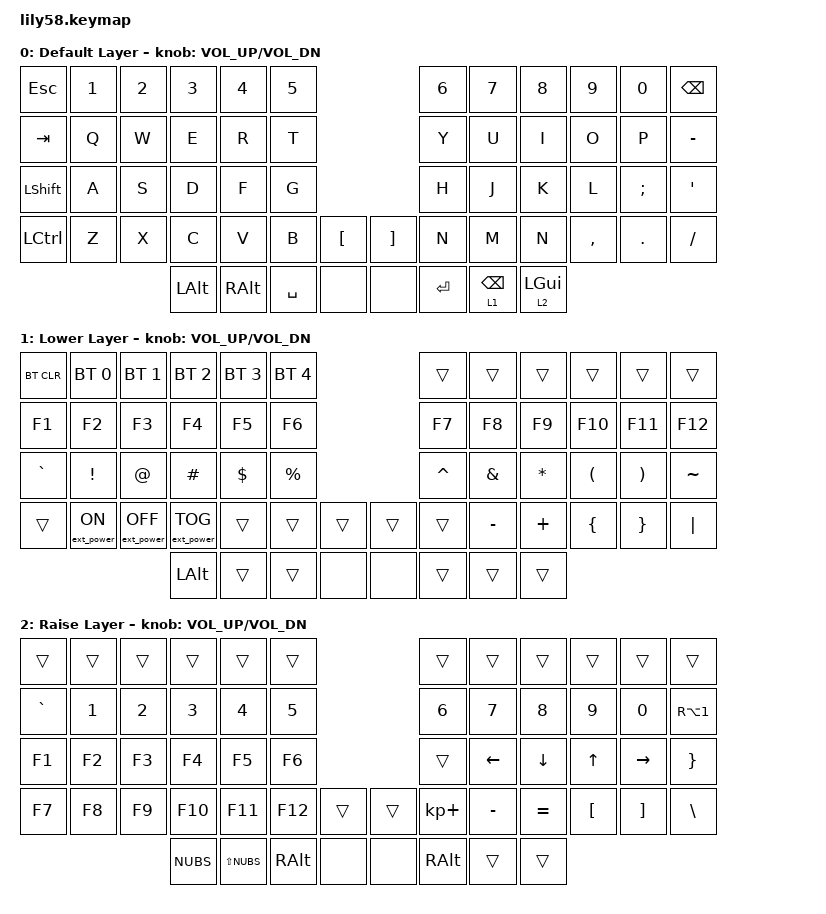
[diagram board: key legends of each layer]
/*
 * Copyright (c) 2020 The ZMK Contributors
 *
 * SPDX-License-Identifier: MIT
 *
 */

#include <behaviors.dtsi>
#include <dt-bindings/zmk/keys.h>
#include <dt-bindings/zmk/bt.h>
#include <dt-bindings/zmk/ext_power.h>

 / {
    keymap {
        compatible = "zmk,keymap";

        default_layer {
            display-name = "Default Layer";

            bindings = <
&kp ESC     &kp N1     &kp N2      &kp N3      &kp N4      &kp N5                            &kp N6    &kp N7    &kp N8     &kp N9     &kp N0      &kp BSPC
&kp TAB     &kp Q      &kp W       &kp E       &kp R       &kp T                             &kp Y     &kp U     &kp I      &kp O      &kp P       &kp MINUS
&kp LSHIFT  &kp A      &kp S       &kp D       &kp F       &kp G                             &kp H     &kp J     &kp K      &kp L      &kp SEMI    &kp SQT
&kp LCTRL   &kp Z      &kp X       &kp C       &kp V       &kp B        &kp LBKT  &kp RBKT   &kp N     &kp M     &kp N       &kp COMMA  &kp DOT    &kp FSLH
                                &kp LALT   &kp RALT   &kp SPACE     &none    &none     &kp RET     &lt 1 BSPC   &lt 2 LGUI
            >;

            sensor-bindings = <&inc_dec_kp C_VOL_UP C_VOL_DN>;
        };

        lower_layer {
            display-name = "Lower Layer";

            bindings = <
&bt BT_CLR       &bt BT_SEL 0       &bt BT_SEL 1     &bt BT_SEL 2     &bt BT_SEL 3    &bt BT_SEL 4                        &trans    &trans    &trans     &trans     &trans    &trans
&kp F1           &kp F2             &kp F3           &kp F4           &kp F5          &kp F6                               &kp F7    &kp F8    &kp F9      &kp F10    &kp F11   &kp F12
&kp GRAVE        &kp EXCL           &kp AT           &kp HASH         &kp DOLLAR      &kp PRCNT                            &kp CARET &kp AMPS  &kp ASTRK   &kp LPAR   &kp RPAR  &kp TILDE
&trans           &ext_power EP_ON   &ext_power EP_OFF &ext_power EP_TOG &trans         &trans       &trans &trans           &trans    &kp MINUS &kp PLUS    &kp LBRC   &kp RBRC  &kp PIPE
                                            &kp LALT       &trans       &trans      &none      &none       &trans          &trans    &trans
            >;

            sensor-bindings = <&inc_dec_kp C_VOL_UP C_VOL_DN>;
        };

        raise_layer {
            display-name = "Raise Layer";

            bindings = <
&trans    &trans &trans &trans  &trans  &trans                          &trans        &trans      &trans      &trans     &trans    &trans
&kp GRAVE &kp N1 &kp N2 &kp N3  &kp N4  &kp N5                          &kp N6        &kp N7      &kp N8      &kp N9     &kp N0    &kp RA(N1)
&kp F1    &kp F2 &kp F3 &kp F4  &kp F5  &kp F6                          &trans        &kp LEFT    &kp DOWN    &kp UP     &kp RIGHT &kp RBRC
&kp F7    &kp F8 &kp F9 &kp F10 &kp F11 &kp F12   &trans   &trans       &kp KP_PLUS   &kp MINUS   &kp EQUAL   &kp LBKT   &kp RBKT  &kp BSLH
                        &kp NUBS  &kp LS(NUBS)  &kp RALT   &none   &none   &kp RALT        &trans      &trans

            >;

            sensor-bindings = <&inc_dec_kp C_VOL_UP C_VOL_DN>;
        };
    };
};
